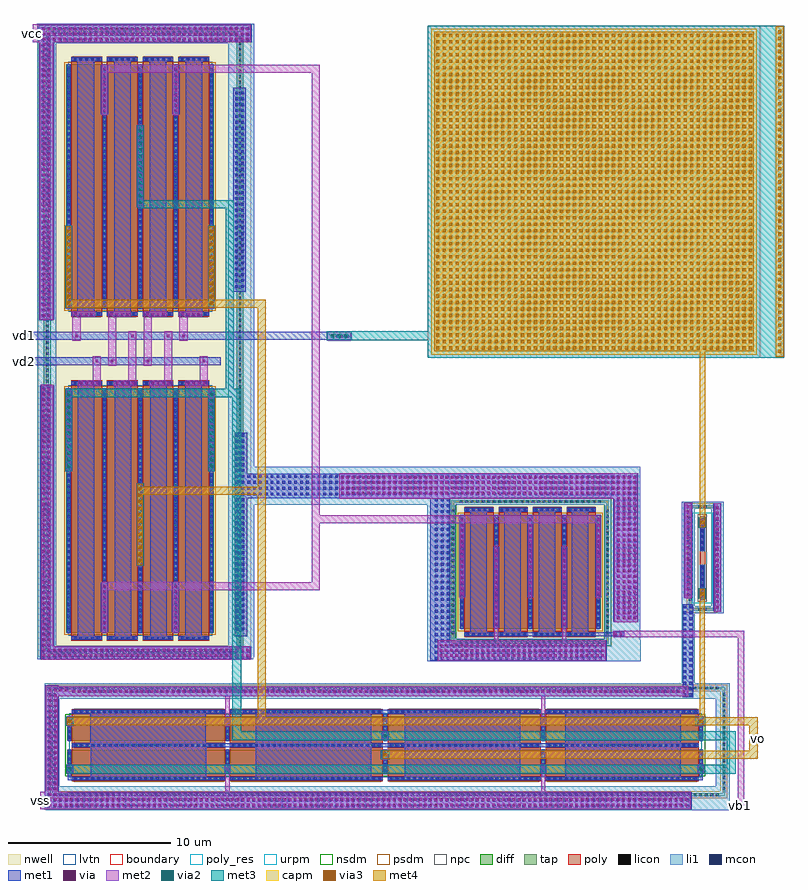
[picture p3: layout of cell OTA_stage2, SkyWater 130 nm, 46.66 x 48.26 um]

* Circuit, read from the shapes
.subckt OTA_stage2 vb1 vcc vd1 vd2 vo vss
XM1 vss n1 n1 vss sky130_fd_pr__nfet_01v8_lvt w=1.5 l=9.4 m=4
XM2 vss n1 vo vss sky130_fd_pr__nfet_01v8_lvt w=1.5 l=9.4 m=4
XM3 n2 vd2 n1 vcc sky130_fd_pr__pfet_01v8_lvt w=15 l=1.9 m=4
XM4 n2 vd1 vo vcc sky130_fd_pr__pfet_01v8_lvt w=15 l=1.9 m=4
XM5 vcc vb1 n2 vcc sky130_fd_pr__pfet_01v8 w=7 l=1.8 m=4
XC6 n3 vd1 sky130_fd_pr__cap_mim_m3_1 w=20 l=20
XR7 n3 vo vss sky130_fd_pr__res_xhigh_po w=0.35 l=0.88
.ends

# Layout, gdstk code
import gdstk
lib = gdstk.Library(unit=1e-6, precision=1e-09)
def R(c, l, rs):  # rectangles x0, y0, x1, y1
    for r in rs: c.add(gdstk.rectangle(r[:2], r[2:], *l))
def A(c, l, x, y, w, h, nx, ny, dx, dy):  # array of equal rectangles
    R(c, l, [(x+i*dx, y+j*dy, x+i*dx+w, y+j*dy+h) for i in range(nx) for j in range(ny)])
nwell = (64, 20)
diff = (65, 20)
tap = (65, 44)
poly_res = (66, 13)
poly = (66, 20)
licon = (66, 44)
li1 = (67, 20)
mcon = (67, 44)
met1 = (68, 20)
via = (68, 44)
met2 = (69, 20)
via2 = (69, 44)
met3 = (70, 20)
via3 = (70, 44)
met4 = (71, 20)
urpm = (79, 20)
capm = (89, 44)
nsdm = (93, 44)
psdm = (94, 20)
npc = (95, 20)
lvtn = (125, 44)
boundary = (235, 4)

sky130_fd_pr__nfet_01v8_ = lib.new_cell('sky130_fd_pr__nfet_01v8_lvt_AR4WA2')
R(sky130_fd_pr__nfet_01v8_, diff, [(-4.99,-0.75,4.99,0.75)])
R(sky130_fd_pr__nfet_01v8_, poly, [(-4.7,-1.19,4.7,1.19)])
A(sky130_fd_pr__nfet_01v8_, licon, -4.505, -1.11, 0.17, 0.17, 27, 2, 0.34, 2.05)
A(sky130_fd_pr__nfet_01v8_, licon, -4.93, -0.595, 0.17, 0.17, 1, 4, 0, 0.34)
A(sky130_fd_pr__nfet_01v8_, licon, 4.76, -0.595, 0.17, 0.17, 1, 4, 0, 0.34)
R(sky130_fd_pr__nfet_01v8_, li1, [(-4.7,-1.11,4.7,-0.94), (-4.93,-0.77,-4.76,0.77), (4.76,-0.77,4.93,0.77), (-4.7,0.94,4.7,1.11)])
A(sky130_fd_pr__nfet_01v8_, mcon, -4.585, -1.11, 0.17, 0.17, 26, 2, 0.36, 2.05)
A(sky130_fd_pr__nfet_01v8_, mcon, -4.93, -0.625, 0.17, 0.17, 1, 4, 0, 0.36)
A(sky130_fd_pr__nfet_01v8_, mcon, 4.76, -0.625, 0.17, 0.17, 1, 4, 0, 0.36)
R(sky130_fd_pr__nfet_01v8_, met1, [(-4.68,-1.14,4.68,-0.91), (-4.96,-0.75,-4.73,0.75), (4.73,-0.75,4.96,0.75), (-4.68,0.91,4.68,1.14)])
R(sky130_fd_pr__nfet_01v8_, nsdm, [(-5.115,-0.875,5.115,0.875)])
R(sky130_fd_pr__nfet_01v8_, npc, [(-4.605,-1.21,4.605,-0.84), (-4.605,0.84,4.605,1.21)])
R(sky130_fd_pr__nfet_01v8_, lvtn, [(-4.88,-0.93,4.88,0.93)])

sky130_fd_pr__pfet_01v8_ = lib.new_cell('sky130_fd_pr__pfet_01v8_lvt_NH7ZMU')
R(sky130_fd_pr__pfet_01v8_, nwell, [(-1.42,-8,1.42,8)])
R(sky130_fd_pr__pfet_01v8_, diff, [(-1.24,-7.5,1.24,7.5)])
R(sky130_fd_pr__pfet_01v8_, poly, [(-0.95,-7.985,0.95,7.985)])
A(sky130_fd_pr__pfet_01v8_, licon, -0.765, -7.905, 0.17, 0.17, 5, 2, 0.34, 15.64)
A(sky130_fd_pr__pfet_01v8_, licon, -1.18, -7.395, 0.17, 0.17, 1, 44, 0, 0.34)
A(sky130_fd_pr__pfet_01v8_, licon, 1.01, -7.395, 0.17, 0.17, 1, 44, 0, 0.34)
R(sky130_fd_pr__pfet_01v8_, li1, [(-0.95,-7.905,0.95,-7.735), (-1.18,-7.52,-1.01,7.52), (1.01,-7.52,1.18,7.52), (-0.95,7.735,0.95,7.905)])
A(sky130_fd_pr__pfet_01v8_, mcon, -0.805, -7.905, 0.17, 0.17, 5, 2, 0.36, 15.64)
A(sky130_fd_pr__pfet_01v8_, mcon, -1.18, -7.285, 0.17, 0.17, 1, 41, 0, 0.36)
A(sky130_fd_pr__pfet_01v8_, mcon, 1.01, -7.285, 0.17, 0.17, 1, 41, 0, 0.36)
R(sky130_fd_pr__pfet_01v8_, met1, [(-0.93,-7.935,0.93,-7.705), (-1.21,-7.5,-0.98,7.5), (0.98,-7.5,1.21,7.5), (-0.93,7.705,0.93,7.935)])
R(sky130_fd_pr__pfet_01v8_, psdm, [(-1.365,-7.625,1.365,7.625)])
R(sky130_fd_pr__pfet_01v8_, npc, [(-0.865,-8.005,0.865,-7.635), (-0.865,7.635,0.865,8.005)])
R(sky130_fd_pr__pfet_01v8_, lvtn, [(-1.13,-7.68,1.13,7.68)])

c_sky130_fd_pr__pfet_01v8_ = lib.new_cell('sky130_fd_pr__pfet_01v8_6JHA76')
R(c_sky130_fd_pr__pfet_01v8_, nwell, [(-5.015,-4.595,5.015,4.595)])
R(c_sky130_fd_pr__pfet_01v8_, diff, [(-4.325,-3.5,4.325,3.5)])
R(c_sky130_fd_pr__pfet_01v8_, tap, [(-4.835,-4.415,4.835,-4.245), (-4.835,-4.245,-4.665,4.245), (4.665,-4.245,4.835,4.245), (-4.835,4.245,4.835,4.415)])
A(c_sky130_fd_pr__pfet_01v8_, poly, -4.035, -3.985, 1.8, 7.97, 4, 1, 2.09, 0)
A(c_sky130_fd_pr__pfet_01v8_, licon, -4.335, -4.415, 0.17, 0.17, 26, 2, 0.34, 8.66)
A(c_sky130_fd_pr__pfet_01v8_, licon, -3.9, -3.905, 0.17, 0.17, 5, 2, 0.34, 7.64)
A(c_sky130_fd_pr__pfet_01v8_, licon, -1.81, -3.905, 0.17, 0.17, 5, 2, 0.34, 7.64)
A(c_sky130_fd_pr__pfet_01v8_, licon, 0.28, -3.905, 0.17, 0.17, 5, 2, 0.34, 7.64)
A(c_sky130_fd_pr__pfet_01v8_, licon, 2.37, -3.905, 0.17, 0.17, 5, 2, 0.34, 7.64)
A(c_sky130_fd_pr__pfet_01v8_, licon, -4.835, -3.825, 0.17, 0.17, 1, 23, 0, 0.34)
A(c_sky130_fd_pr__pfet_01v8_, licon, 4.665, -3.825, 0.17, 0.17, 1, 23, 0, 0.34)
A(c_sky130_fd_pr__pfet_01v8_, licon, -4.265, -3.315, 0.17, 0.17, 5, 20, 2.09, 0.34)
A(c_sky130_fd_pr__pfet_01v8_, li1, -4.035, -3.905, 1.8, 0.17, 4, 2, 2.09, 7.64)
A(c_sky130_fd_pr__pfet_01v8_, li1, -4.265, -3.52, 0.17, 7.04, 5, 1, 2.09, 0)
R(c_sky130_fd_pr__pfet_01v8_, li1, [(-4.835,-4.415,4.835,-4.245), (-4.835,-4.245,-4.665,4.245), (4.665,-4.245,4.835,4.245), (-4.835,4.245,4.835,4.415)])
A(c_sky130_fd_pr__pfet_01v8_, mcon, -3.94, -3.905, 0.17, 0.17, 5, 2, 0.36, 7.64)
A(c_sky130_fd_pr__pfet_01v8_, mcon, -1.85, -3.905, 0.17, 0.17, 5, 2, 0.36, 7.64)
A(c_sky130_fd_pr__pfet_01v8_, mcon, 0.24, -3.905, 0.17, 0.17, 5, 2, 0.36, 7.64)
A(c_sky130_fd_pr__pfet_01v8_, mcon, 2.33, -3.905, 0.17, 0.17, 5, 2, 0.36, 7.64)
A(c_sky130_fd_pr__pfet_01v8_, mcon, -4.265, -3.325, 0.17, 0.17, 5, 19, 2.09, 0.36)
A(c_sky130_fd_pr__pfet_01v8_, met1, -4.015, -3.935, 1.76, 0.23, 4, 2, 2.09, 7.64)
A(c_sky130_fd_pr__pfet_01v8_, met1, -4.295, -3.5, 0.23, 7, 5, 1, 2.09, 0)
R(c_sky130_fd_pr__pfet_01v8_, nsdm, [(-4.96,-4.54,4.96,-4.12), (-4.96,-4.12,-4.54,4.12), (4.54,-4.12,4.96,4.12), (-4.96,4.12,4.96,4.54)])
R(c_sky130_fd_pr__pfet_01v8_, psdm, [(-4.45,-3.625,4.45,3.625)])
A(c_sky130_fd_pr__pfet_01v8_, npc, -4, -4.005, 1.73, 0.37, 4, 2, 2.09, 7.64)
R(c_sky130_fd_pr__pfet_01v8_, boundary, [(-4.75,-4.33,4.75,4.33)])

sky130_fd_pr__res_xhigh_ = lib.new_cell('sky130_fd_pr__res_xhigh_po_0p35_Q9T44L')
R(sky130_fd_pr__res_xhigh_, tap, [(-0.825,-3.23,0.825,-3.06), (-0.825,-3.06,-0.655,3.06), (0.655,-3.06,0.825,3.06), (-0.825,3.06,0.825,3.23)])
R(sky130_fd_pr__res_xhigh_, poly_res, [(-0.175,-0.5,0.175,0.5)])
R(sky130_fd_pr__res_xhigh_, poly, [(-0.175,-2.58,0.175,2.58)])
A(sky130_fd_pr__res_xhigh_, licon, -0.825, -2.635, 0.17, 0.17, 1, 16, 0, 0.34)
A(sky130_fd_pr__res_xhigh_, licon, 0.655, -2.635, 0.17, 0.17, 1, 16, 0, 0.34)
R(sky130_fd_pr__res_xhigh_, licon, [(-0.255,-3.23,-0.085,-3.06), (0.085,-3.23,0.255,-3.06), (-0.095,-2.5,0.095,-0.5), (-0.095,0.5,0.095,2.5), (-0.255,3.06,-0.085,3.23), (0.085,3.06,0.255,3.23)])
R(sky130_fd_pr__res_xhigh_, li1, [(-0.825,-3.23,0.825,-3.06), (-0.825,-3.06,-0.655,3.06), (0.655,-3.06,0.825,3.06), (-0.175,-2.58,0.175,-0.42), (-0.175,0.42,0.175,2.58), (-0.825,3.06,0.825,3.23)])
A(sky130_fd_pr__res_xhigh_, mcon, -0.085, -2.485, 0.17, 0.17, 1, 6, 0, 0.36)
A(sky130_fd_pr__res_xhigh_, mcon, -0.085, 0.51, 0.17, 0.17, 1, 6, 0, 0.36)
R(sky130_fd_pr__res_xhigh_, met1, [(-0.125,-2.55,0.125,-0.445), (-0.125,0.445,0.125,2.55)])
R(sky130_fd_pr__res_xhigh_, urpm, [(-0.635,-2.78,0.635,2.78)])
R(sky130_fd_pr__res_xhigh_, psdm, [(-0.95,-3.355,0.95,3.355)])
R(sky130_fd_pr__res_xhigh_, npc, [(-0.27,-2.675,0.27,2.675)])
R(sky130_fd_pr__res_xhigh_, boundary, [(-0.74,-3.145,0.74,3.145)])

sky130_fd_pr__cap_mim_m3 = lib.new_cell('sky130_fd_pr__cap_mim_m3_1_V6F9HY')
R(sky130_fd_pr__cap_mim_m3, met3, [(-10.93,-10.2,10.93,10.2)])
A(sky130_fd_pr__cap_mim_m3, via3, 10.57, -9.9, 0.2, 0.2, 1, 50, 0, 0.4)
A(sky130_fd_pr__cap_mim_m3, via3, -10.43, -9.7, 0.2, 0.2, 49, 49, 0.4, 0.4)
R(sky130_fd_pr__cap_mim_m3, met4, [(10.43,-10.14,10.91,10.14), (-10.535,-9.805,9.075,9.805)])
R(sky130_fd_pr__cap_mim_m3, capm, [(-10.73,-10,9.27,10)])
R(sky130_fd_pr__cap_mim_m3, boundary, [(-10.93,-10.2,9.47,10.2)])

ota_stage2 = lib.new_cell('OTA_stage2')
R(ota_stage2, nwell, [(32.36,-16.31,45.425,22.485)])
R(ota_stage2, tap, [(33.085,-24.825,74.53,-24.655), (33.085,-24.655,33.255,-18.28), (74.36,-24.655,74.53,-18.28), (33.085,-18.28,74.53,-18.11), (32.825,-16.12,44.825,-15.95), (32.825,-15.95,32.995,21.985), (44.655,-15.95,44.825,21.985), (32.825,21.985,44.825,22.155)])
A(ota_stage2, licon, 33.49, -24.825, 0.17, 0.17, 120, 2, 0.34, 6.545)
A(ota_stage2, licon, 33.085, -24.445, 0.17, 0.17, 1, 18, 0, 0.34)
A(ota_stage2, licon, 74.36, -24.445, 0.17, 0.17, 1, 18, 0, 0.34)
A(ota_stage2, licon, 33.13, -16.12, 0.17, 0.17, 34, 2, 0.34, 38.105)
A(ota_stage2, licon, 32.825, -15.77, 0.17, 0.17, 1, 111, 0, 0.34)
A(ota_stage2, licon, 44.655, -15.77, 0.17, 0.17, 1, 111, 0, 0.34)
R(ota_stage2, li1, [(32.81,-25.685,74.8,-25.68), (32.765,-25.68,74.8,-24.235), (32.765,-24.235,33.655,-18.845), (73.955,-24.235,74.8,-18.845), (32.765,-18.845,74.8,-17.91), (71.86,-17.91,72.645,-13.59), (56.23,-16.55,69.33,-15.27), (32.285,-16.44,45.54,-16.305), (32.285,-16.305,45.61,-15.615), (32.285,-15.615,33.455,21.4), (44.03,-15.615,45.61,-6.955), (56.23,-15.27,69.31,-15.17), (56.23,-15.17,57.94,-6.955), (67.14,-15.17,69.31,-6.955), (71.86,-13.59,74.445,-13.16), (71.86,-13.16,72.645,-7.18), (73.66,-13.16,74.445,-7.18), (71.86,-7.18,74.445,-6.75), (44.03,-6.955,69.31,-4.625), (44.03,-4.625,45.61,21.4), (32.285,21.4,45.61,22.57)])
A(ota_stage2, mcon, 32.905, -25.53, 0.17, 0.17, 110, 3, 0.36, 0.36)
A(ota_stage2, mcon, 32.905, -24.45, 0.17, 0.17, 1, 17, 0, 0.36)
A(ota_stage2, mcon, 33.265, -24.45, 0.17, 0.17, 1, 17, 0, 0.36)
A(ota_stage2, mcon, 71.97, -18.7, 0.17, 0.17, 1, 16, 0, 0.36)
A(ota_stage2, mcon, 72.33, -18.7, 0.17, 0.17, 1, 16, 0, 0.36)
A(ota_stage2, mcon, 34.445, -18.485, 0.17, 0.17, 104, 1, 0.36, 0)
A(ota_stage2, mcon, 32.905, -18.33, 0.17, 0.17, 4, 1, 0.36, 0)
A(ota_stage2, mcon, 56.705, -16.45, 0.17, 0.17, 29, 3, 0.36, 0.36)
A(ota_stage2, mcon, 32.56, -16.39, 0.17, 0.17, 36, 2, 0.36, 0.36)
A(ota_stage2, mcon, 32.56, -15.67, 0.17, 0.17, 1, 45, 0, 0.36)
A(ota_stage2, mcon, 32.92, -15.67, 0.17, 0.17, 1, 45, 0, 0.36)
A(ota_stage2, mcon, 56.705, -15.37, 0.17, 0.17, 3, 25, 0.36, 0.36)
A(ota_stage2, mcon, 44.465, -14.65, 0.17, 0.17, 1, 23, 0, 0.36)
A(ota_stage2, mcon, 44.825, -14.65, 0.17, 0.17, 1, 23, 0, 0.36)
A(ota_stage2, mcon, 67.865, -13.93, 0.17, 0.17, 4, 21, 0.36, 0.36)
A(ota_stage2, mcon, 73.955, -13.325, 0.17, 0.17, 1, 18, 0, 0.36)
A(ota_stage2, mcon, 72.16, -12.545, 0.17, 0.17, 1, 16, 0, 0.36)
A(ota_stage2, mcon, 44.465, -6.37, 0.17, 0.17, 69, 4, 0.36, 0.36)
A(ota_stage2, mcon, 44.465, -4.93, 0.17, 0.17, 1, 7, 0, 0.36)
A(ota_stage2, mcon, 44.825, -4.93, 0.17, 0.17, 1, 7, 0, 0.36)
A(ota_stage2, mcon, 32.55, 4.57, 0.17, 0.17, 1, 47, 0, 0.36)
A(ota_stage2, mcon, 32.91, 4.57, 0.17, 0.17, 1, 47, 0, 0.36)
A(ota_stage2, mcon, 44.445, 6.37, 0.17, 0.17, 1, 34, 0, 0.36)
A(ota_stage2, mcon, 44.805, 6.37, 0.17, 0.17, 1, 34, 0, 0.36)
A(ota_stage2, mcon, 32.55, 21.49, 0.17, 0.17, 36, 3, 0.36, 0.36)
A(ota_stage2, met1, 58.195, -12.63, 0.36, 5, 3, 1, 4.18, 0)
A(ota_stage2, met1, 34.745, 0.39, 1.5, 0.26, 4, 1, 2.19, 0)
A(ota_stage2, met1, 34.405, 4.635, 1.5, 0.26, 4, 1, 2.19, 0)
R(ota_stage2, met1, [(32.755,-25.625,72.47,-24.58), (32.755,-24.58,34.08,-24.575), (32.765,-24.575,33.6,-18.685), (34.165,-23.87,34.555,-23.64), (72.76,-23.87,73.155,-23.64), (35.565,-23.695,42.66,-21.79), (45.695,-23.675,52.79,-21.77), (54.86,-23.675,61.955,-21.77), (64.71,-23.655,71.805,-21.75), (34.165,-23.64,34.395,-23.47), (72.925,-23.64,73.155,-23.455), (34.07,-23.42,34.49,-22.92), (43.79,-23.42,44.15,-22.92), (63.17,-23.42,63.53,-22.92), (72.83,-23.42,73.25,-22.92), (53.45,-22.54,53.87,-22.04), (43.795,-21.82,44.19,-21.59), (53.485,-21.82,53.88,-21.59), (63.18,-21.82,63.575,-21.59), (35.545,-21.625,42.64,-19.72), (45.715,-21.625,52.81,-19.72), (64.71,-21.625,71.805,-19.72), (54.86,-21.6,61.955,-19.695), (53.45,-21.37,53.87,-20.87), (34.07,-20.49,34.49,-19.99), (43.79,-20.49,44.15,-19.99), (63.17,-20.49,63.53,-19.99), (72.83,-20.49,73.25,-19.99), (53.545,-19.97,53.775,-19.77), (53.44,-19.77,53.905,-19.54), (71.915,-18.775,72.555,-18.685), (32.765,-18.685,72.555,-18.11), (32.765,-18.11,34.255,-18.105), (71.915,-18.11,72.555,-13.05), (32.765,-18.105,33.6,-18.095), (32.785,-18.095,33.58,-18.035), (56.425,-16.53,57.65,-16.51), (56.425,-16.51,67.255,-15.27), (32.505,-16.46,33.31,-16.435), (32.505,-16.435,45.42,-16.4), (32.485,-16.4,45.42,-15.655), (32.485,-15.655,33.33,-15.52), (32.49,-15.52,33.33,0.36), (56.425,-15.27,57.65,-6.55), (39.22,-15.04,40.245,0.39), (44.405,-15.03,45.175,-6.55), (67.595,-15.025,68.315,-15.005), (34.775,-15.02,35.8,0.39), (37.04,-15.02,38.065,0.39), (41.38,-15.02,42.405,0.39), (60.265,-15.005,60.67,-14.775), (62.375,-15.005,62.78,-14.775), (64.44,-15.005,64.845,-14.775), (66.33,-15.005,68.315,-14.775), (60.975,-14.85,61.98,-7.35), (63.09,-14.83,64.095,-7.33), (65.12,-14.83,66.125,-7.33), (58.88,-14.805,59.885,-7.305), (67.595,-14.775,68.315,-14.73), (36.19,-14.74,36.65,-11.74), (40.565,-14.74,41.025,-11.74), (60.285,-14.51,60.645,-9.51), (64.465,-14.51,64.825,-9.51), (67.68,-14.16,69.175,-14.1), (67.66,-14.1,69.195,-6.55), (73.815,-13.51,74.27,-13.45), (73.795,-13.45,74.29,-6.905), (72.91,-12.705,73.33,-12.105), (72,-12.69,72.49,-12.63), (71.98,-12.63,72.51,-6.885), (38.4,-10.66,38.82,-5.66), (72.915,-8.325,73.335,-7.725), (73.815,-6.905,74.27,-6.845), (72,-6.885,72.49,-6.825), (44.405,-6.55,69.195,-5.065), (44.405,-5.065,69.175,-5.03), (44.405,-5.03,45.175,-2.51), (67.68,-5.03,69.175,-5.005), (34.02,-4.86,34.44,0.14), (42.78,-4.86,43.2,0.14), (32.51,0.36,33.31,0.42), (31.48,1.625,43.55,2.125), (31.48,3.17,51.61,3.67), (32.425,4.39,33.31,4.45), (32.405,4.45,33.33,21.46), (34.755,4.895,35.78,20.345), (37.02,4.895,38.045,20.345), (39.2,4.895,40.225,20.345), (41.4,4.895,42.425,20.32), (34.015,5.145,34.435,10.145), (42.78,5.145,43.2,10.145), (44.325,6.135,45.095,18.655), (38.4,11.33,38.82,16.33), (36.19,17.025,36.65,20.025), (40.57,17.025,41.03,20.025), (32.395,21.46,45.475,22.535)])
A(ota_stage2, via, 33.015, -25.44, 0.15, 0.15, 123, 2, 0.32, 0.32)
A(ota_stage2, via, 33.015, -24.8, 0.15, 0.15, 1, 20, 0, 0.32)
A(ota_stage2, via, 33.335, -24.8, 0.15, 0.15, 1, 20, 0, 0.32)
A(ota_stage2, via, 34.465, -18.475, 0.15, 0.15, 118, 1, 0.32, 0)
A(ota_stage2, via, 33.015, -18.4, 0.15, 0.15, 4, 1, 0.32, 0)
A(ota_stage2, via, 57, -16.285, 0.15, 0.15, 32, 3, 0.32, 0.32)
A(ota_stage2, via, 32.63, -16.26, 0.15, 0.15, 40, 2, 0.32, 0.32)
A(ota_stage2, via, 32.63, -15.62, 0.15, 0.15, 1, 50, 0, 0.32)
A(ota_stage2, via, 32.95, -15.62, 0.15, 0.15, 1, 50, 0, 0.32)
A(ota_stage2, via, 36.345, -14.595, 0.15, 0.15, 1, 9, 0, 0.32)
A(ota_stage2, via, 40.72, -14.595, 0.15, 0.15, 1, 9, 0, 0.32)
A(ota_stage2, via, 60.39, -14.325, 0.15, 0.15, 1, 15, 0, 0.32)
A(ota_stage2, via, 64.57, -14.325, 0.15, 0.15, 1, 15, 0, 0.32)
A(ota_stage2, via, 67.91, -13.98, 0.15, 0.15, 4, 24, 0.32, 0.32)
A(ota_stage2, via, 73.965, -13.295, 0.15, 0.15, 1, 20, 0, 0.32)
A(ota_stage2, via, 72.17, -12.555, 0.15, 0.15, 1, 18, 0, 0.32)
A(ota_stage2, via, 58.3, -12.445, 0.15, 0.15, 3, 15, 4.18, 0.32)
A(ota_stage2, via, 38.535, -10.475, 0.15, 0.15, 1, 15, 0, 0.32)
A(ota_stage2, via, 50.95, -6.3, 0.15, 0.15, 57, 4, 0.32, 0.32)
A(ota_stage2, via, 34.155, -4.675, 0.15, 0.15, 1, 15, 0, 0.32)
A(ota_stage2, via, 42.915, -4.675, 0.15, 0.15, 1, 15, 0, 0.32)
A(ota_stage2, via, 34.94, 0.445, 0.15, 0.15, 4, 1, 0.32, 0)
A(ota_stage2, via, 37.13, 0.445, 0.15, 0.15, 4, 1, 0.32, 0)
A(ota_stage2, via, 39.32, 0.445, 0.15, 0.15, 4, 1, 0.32, 0)
A(ota_stage2, via, 41.51, 0.445, 0.15, 0.15, 4, 1, 0.32, 0)
A(ota_stage2, via, 50.3, 3.345, 0.15, 0.15, 4, 1, 0.32, 0)
A(ota_stage2, via, 32.62, 4.6, 0.15, 0.15, 1, 53, 0, 0.32)
A(ota_stage2, via, 32.94, 4.6, 0.15, 0.15, 1, 53, 0, 0.32)
A(ota_stage2, via, 34.6, 4.69, 0.15, 0.15, 4, 1, 0.32, 0)
A(ota_stage2, via, 36.79, 4.69, 0.15, 0.15, 4, 1, 0.32, 0)
A(ota_stage2, via, 38.98, 4.69, 0.15, 0.15, 4, 1, 0.32, 0)
A(ota_stage2, via, 41.17, 4.69, 0.15, 0.15, 4, 1, 0.32, 0)
A(ota_stage2, via, 34.15, 5.33, 0.15, 0.15, 1, 15, 0, 0.32)
A(ota_stage2, via, 42.915, 5.33, 0.15, 0.15, 1, 15, 0, 0.32)
A(ota_stage2, via, 38.535, 11.515, 0.15, 0.15, 1, 15, 0, 0.32)
A(ota_stage2, via, 36.345, 17.17, 0.15, 0.15, 1, 9, 0, 0.32)
A(ota_stage2, via, 40.725, 17.17, 0.15, 0.15, 1, 9, 0, 0.32)
A(ota_stage2, via, 32.62, 21.56, 0.15, 0.15, 40, 3, 0.32, 0.32)
R(ota_stage2, via, [(34.205,-23.245,34.355,-23.095), (43.895,-23.245,44.045,-23.095), (63.275,-23.245,63.425,-23.095), (72.965,-23.245,73.115,-23.095), (53.585,-22.365,53.735,-22.215), (53.585,-21.195,53.735,-21.045), (34.205,-20.315,34.355,-20.165), (43.895,-20.315,44.045,-20.165), (63.275,-20.315,63.425,-20.165), (72.965,-20.315,73.115,-20.165), (67.72,-14.955,67.87,-14.805), (68.04,-14.955,68.19,-14.805), (73.045,-12.64,73.195,-12.49), (73.045,-12.32,73.195,-12.17), (73.05,-8.26,73.2,-8.11), (73.05,-7.94,73.2,-7.79), (35.87,1.8,36.02,1.95), (36.82,1.8,36.97,1.95), (39.01,1.8,39.16,1.95), (42.44,1.8,42.59,1.95), (34.63,3.345,34.78,3.495), (38.06,3.345,38.21,3.495), (40.25,3.345,40.4,3.495), (41.2,3.345,41.35,3.495)])
A(ota_stage2, met2, 58.245, -12.68, 0.26, 4.6, 3, 1, 4.18, 0)
A(ota_stage2, met2, 34.795, 0.34, 1.4, 0.36, 4, 1, 2.19, 0)
A(ota_stage2, met2, 34.455, 4.585, 1.4, 0.36, 4, 1, 2.19, 0)
R(ota_stage2, met2, [(32.485,-25.645,72.41,-24.56), (75.31,-25.415,75.705,-15.075), (32.485,-24.56,34.02,-24.555), (43.84,-24.56,44.1,-22.87), (63.22,-24.56,63.48,-22.87), (32.815,-24.555,33.55,-18.705), (34.12,-23.47,34.44,-22.87), (72.88,-23.47,73.2,-22.87), (53.5,-22.59,53.82,-21.99), (53.5,-21.42,53.82,-20.82), (34.12,-20.54,34.44,-19.94), (43.84,-20.54,44.1,-18.705), (63.22,-20.54,63.48,-18.705), (72.88,-20.54,73.2,-19.94), (32.815,-18.705,72.27,-18.09), (32.815,-18.09,34.195,-18.085), (32.815,-18.085,33.55,-18.045), (56.88,-16.53,67.195,-15.25), (33.1,-16.455,45.36,-16.45), (32.535,-16.45,45.36,-15.635), (32.535,-15.635,33.28,-15.47), (32.54,-15.47,33.28,0.41), (60.335,-15.25,60.595,-9.46), (64.515,-15.25,64.775,-9.46), (67.645,-15.075,75.705,-14.68), (36.24,-14.79,36.6,-12.185), (40.615,-14.79,40.975,-12.185), (67.71,-14.15,69.145,-6.57), (73.845,-13.5,74.24,-6.855), (72.96,-12.755,73.28,-12.055), (72.03,-12.68,72.46,-6.835), (42.6,-12.19,49.645,-12.185), (36.24,-12.185,49.645,-11.69), (36.24,-11.69,43.24,-11.685), (49.145,-11.69,49.645,-8.08), (38.45,-10.71,38.77,-5.61), (72.965,-8.375,73.285,-7.675), (49.145,-8.08,66.865,-7.58), (49.145,-7.58,49.645,19.575), (50.83,-6.57,69.145,-5.015), (34.07,-4.91,34.39,0.19), (42.83,-4.91,43.15,0.19), (35.695,0.7,36.195,2.175), (37.885,0.7,38.385,3.72), (40.075,0.7,40.575,3.72), (42.265,0.7,42.765,2.175), (36.645,1.575,37.145,4.585), (38.835,1.575,39.335,4.585), (34.455,3.12,34.955,4.585), (41.025,3.12,41.525,4.585), (50.1,3.12,51.56,3.72), (32.455,4.4,33.28,21.435), (34.065,5.095,34.385,10.195), (42.83,5.095,43.15,10.195), (38.45,11.28,38.77,16.38), (36.24,16.975,36.6,19.575), (40.62,16.975,40.98,19.575), (36.24,19.575,49.645,20.075), (32.01,21.435,33.28,21.44), (32.01,21.44,45.415,22.555)])
A(ota_stage2, via2, 38.51, -10.46, 0.2, 0.2, 1, 12, 0, 0.4)
A(ota_stage2, via2, 34.13, -4.66, 0.2, 0.2, 1, 12, 0, 0.4)
A(ota_stage2, via2, 42.89, -4.66, 0.2, 0.2, 1, 12, 0, 0.4)
A(ota_stage2, via2, 50.33, 3.32, 0.2, 0.2, 3, 1, 0.4, 0)
A(ota_stage2, via2, 34.125, 5.345, 0.2, 0.2, 1, 12, 0, 0.4)
A(ota_stage2, via2, 42.89, 5.345, 0.2, 0.2, 1, 12, 0, 0.4)
A(ota_stage2, via2, 38.51, 11.53, 0.2, 0.2, 1, 12, 0, 0.4)
R(ota_stage2, via2, [(34.18,-23.27,34.38,-23.07), (72.94,-23.27,73.14,-23.07), (53.56,-22.39,53.76,-22.19), (53.56,-21.22,53.76,-21.02), (34.18,-20.34,34.38,-20.14), (72.94,-20.34,73.14,-20.14), (73.02,-12.505,73.22,-12.305), (73.025,-8.125,73.225,-7.925)])
R(ota_stage2, met3, [(34.07,-23.445,75.18,-22.895), (74.63,-22.895,75.18,-21.395), (53.37,-22.565,53.945,-22.015), (44.265,-21.395,75.18,-20.845), (44.265,-20.845,44.815,-0.335), (34.035,-20.515,34.525,-19.965), (72.69,-20.515,73.33,-19.965), (72.91,-12.73,73.33,-12.08), (38.4,-10.685,38.82,-5.635), (72.915,-8.35,73.335,-7.7), (34.02,-4.885,34.44,-0.335), (42.78,-4.885,43.2,-0.335), (34.02,-0.335,44.815,0.165), (43.86,0.165,44.815,0.18), (43.86,0.18,44.36,11.26), (50.05,3.145,56.35,3.695), (34.015,5.12,34.435,10.17), (42.78,5.12,43.2,10.17), (38.47,11.26,44.36,11.305), (38.4,11.305,44.36,11.76), (38.4,11.76,38.82,16.355)])
A(ota_stage2, via3, 38.51, -10.46, 0.2, 0.2, 1, 12, 0, 0.4)
A(ota_stage2, via3, 34.125, 5.345, 0.2, 0.2, 1, 12, 0, 0.4)
A(ota_stage2, via3, 42.89, 5.345, 0.2, 0.2, 1, 12, 0, 0.4)
R(ota_stage2, via3, [(53.56,-22.39,53.76,-22.19), (34.18,-20.34,34.38,-20.14), (72.94,-20.34,73.14,-20.14), (73.02,-12.505,73.22,-12.305), (73.025,-8.125,73.225,-7.925)])
R(ota_stage2, met4, [(53.495,-22.545,76.52,-22.035), (76.01,-22.035,76.52,-20.495), (34.115,-20.495,76.52,-19.985), (45.83,-19.985,46.33,-6.33), (72.955,-19.985,73.285,-12.1), (38.445,-10.665,38.775,-6.33), (72.96,-8.33,73.29,2.58), (38.445,-6.33,46.33,-5.83), (38.445,-5.83,38.775,-5.655), (45.83,-5.83,46.33,5.14), (34.06,5.14,46.33,5.64), (34.06,5.64,34.39,10.15), (42.825,5.64,43.155,10.15)])
R(ota_stage2, nsdm, [(34.01,-21.855,73.31,-21.555), (32.7,-16.245,44.95,-15.825), (32.7,-15.825,33.12,21.86), (44.53,-15.825,44.95,21.86), (32.7,21.86,44.95,22.28)])
R(ota_stage2, psdm, [(32.96,-24.95,74.655,-24.53), (32.96,-24.53,33.38,-18.405), (74.235,-24.53,74.655,-18.405), (32.96,-18.405,74.655,-17.985)])
R(ota_stage2, lvtn, [(34.245,-21.8,73.075,-21.61)])
ota_stage2.add(gdstk.Reference(sky130_fd_pr__nfet_01v8_, (39.125,-20.68)))
ota_stage2.add(gdstk.Reference(sky130_fd_pr__nfet_01v8_, (48.815,-20.68)))
ota_stage2.add(gdstk.Reference(sky130_fd_pr__pfet_01v8_, (37.515,-7.3)))
ota_stage2.add(gdstk.Reference(sky130_fd_pr__pfet_01v8_, (41.895,-7.3)))
ota_stage2.add(gdstk.Reference(sky130_fd_pr__nfet_01v8_, (48.815,-22.73)))
ota_stage2.add(gdstk.Reference(sky130_fd_pr__nfet_01v8_, (39.125,-22.73)))
ota_stage2.add(gdstk.Reference(sky130_fd_pr__pfet_01v8_, (35.325,-7.3)))
ota_stage2.add(gdstk.Reference(sky130_fd_pr__pfet_01v8_, (39.705,-7.3)))
ota_stage2.add(gdstk.Reference(sky130_fd_pr__nfet_01v8_, (58.505,-22.73)))
ota_stage2.add(gdstk.Reference(sky130_fd_pr__nfet_01v8_, (58.505,-20.68)))
ota_stage2.add(gdstk.Reference(sky130_fd_pr__nfet_01v8_, (68.195,-20.68)))
ota_stage2.add(gdstk.Reference(c_sky130_fd_pr__pfet_01v8_, (62.555,-11.07)))
ota_stage2.add(gdstk.Reference(sky130_fd_pr__nfet_01v8_, (68.195,-22.73)))
ota_stage2.add(gdstk.Reference(sky130_fd_pr__res_xhigh_, (73.125,-10.215)))
ota_stage2.add(gdstk.Reference(sky130_fd_pr__pfet_01v8_, (41.895,12.585)))
ota_stage2.add(gdstk.Reference(sky130_fd_pr__pfet_01v8_, (37.515,12.585)))
ota_stage2.add(gdstk.Reference(sky130_fd_pr__pfet_01v8_, (39.705,12.585)))
ota_stage2.add(gdstk.Reference(sky130_fd_pr__pfet_01v8_, (35.325,12.585)))
ota_stage2.add(gdstk.Reference(sky130_fd_pr__cap_mim_m3, (67.205,12.275)))
ota_stage2.add(gdstk.Label('vcc', (32.015,22.01), layer=69, texttype=5))
ota_stage2.add(gdstk.Label('vss', (32.49,-25.085), layer=69, texttype=5))
ota_stage2.add(gdstk.Label('vo', (76.515,-21.27), layer=71, texttype=5))
ota_stage2.add(gdstk.Label('vd1', (31.485,3.435), layer=68, texttype=5))
ota_stage2.add(gdstk.Label('vd2', (31.485,1.86), layer=68, texttype=5))
ota_stage2.add(gdstk.Label('vb1', (75.495,-25.41), layer=69, texttype=5))

lib.write_gds('OTA_stage2.gds')
